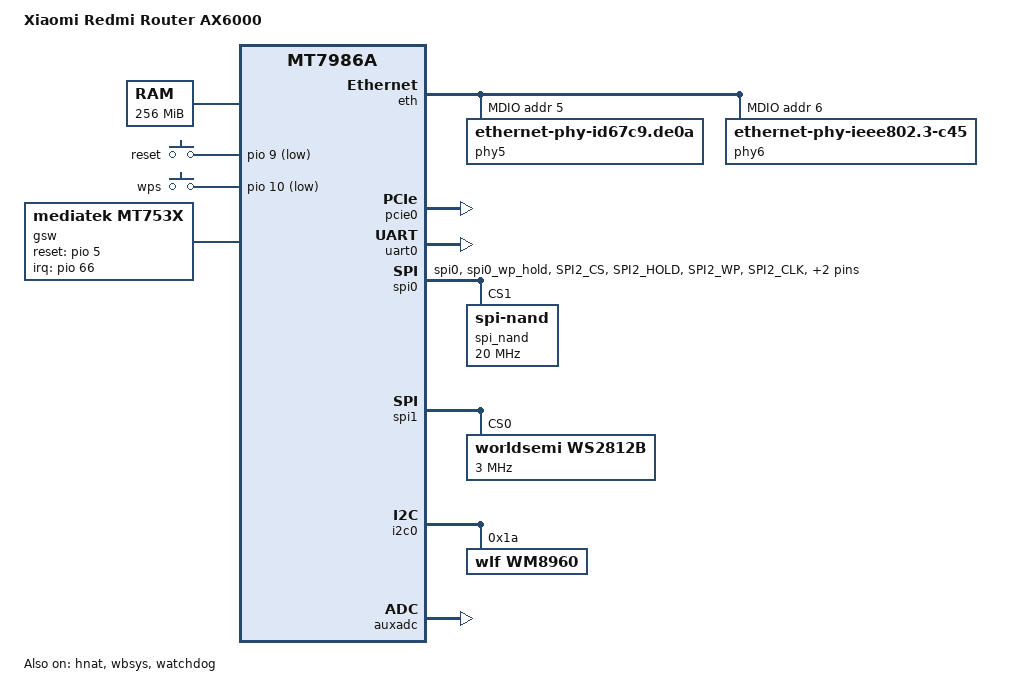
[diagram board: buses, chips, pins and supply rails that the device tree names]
// SPDX-License-Identifier: (GPL-2.0-only OR MIT)
/dts-v1/;

#include <dt-bindings/input/input.h>
#include <dt-bindings/gpio/gpio.h>
#include <dt-bindings/leds/common.h>

#include "mt7986a.dtsi"
#include "mt7986a-pinctrl.dtsi"
/ {
	model = "Xiaomi Redmi Router AX6000";
	compatible = "xiaomi,redmi-router-ax6000", "mediatek,mt7986a";

	
 	aliases {
 		serial0 = &uart0;
 		led-boot = &led_status_rgb;
 		led-failsafe = &led_status_rgb;
 		led-running = &led_status_rgb;
 		led-upgrade = &led_status_rgb;
 	};

	chosen {
		bootargs = "console=ttyS0,115200n1 loglevel=8 
		earlycon=uart8250,mmio32,0x11002000";
	};
	memory {
		reg = <0 0x40000000 0 0x10000000>;
	};

  
       gpio-keys {
		compatible = "gpio-keys";

		reset {
			label = "reset";
			gpios = <&pio 9 GPIO_ACTIVE_LOW>;
			linux,code = <KEY_RESTART>;
		};

		wps {
			label = "wps";
			gpios = <&pio 10 GPIO_ACTIVE_LOW>;
			linux,code = <KEY_WPS_BUTTON>;
			linux,input-type = <EV_SW>;
		};
	};

    nmbm_spim_nand {
		compatible = "generic,nmbm";

		#address-cells = <1>;
		#size-cells = <1>;

		lower-mtd-device = <&spi_nand>;
		forced-create;

	           partitions {
			compatible = "fixed-partitions";
			#address-cells = <1>;
			#size-cells = <1>;

			partition@0 {
				label = "BL2";
				reg = <0x0 0x100000>;
				read-only;
			};

			partition@100000 {
				label = "Nvram";
				reg = <0x100000 0x40000>;
			};

			partition@140000 {
				label = "Bdata";
				reg = <0x140000 0x40000>;
			};

			Factory:partition@180000 {
				label = "Factory";
				reg = <0x180000 0x200000>;
				read-only;
			};

			partition@380000 {
				label = "FIP";
				reg = <0x380000 0x200000>;
			};

			partition@580000 {
				label = "crash";
				reg = <0x580000 0x40000>;
				read-only;
			};

			partition@5c0000 {
				label = "crash_log";
				reg = <0x5c0000 0x40000>;
				read-only;
			};

			partition@600000 {
				label = "ubi_kernel";
				reg = <0x600000 0x1e00000>;
			};

			/* ubi partition is the result of squashing
			 * consecutive stock partitions:
			 * - ubi
			 * - ubi1
			 * - overlay
			 */
			partition@2400000 {
				label = "ubi";
				reg = <0x2400000 0x5000000>;
			};

			/* last 12 MiB is reserved for NMBM bad block table */
		};
	};
	
	gsw: gsw@0 {
		compatible = "mediatek,mt753x";
		mediatek,ethsys = <&ethsys>;
		#address-cells = <1>;
		#size-cells = <0>;
	};
};

&eth {
	status = "okay";

	gmac0: mac@0 {
		compatible = "mediatek,eth-mac";
		reg = <0>;
		phy-mode = "2500base-x";

		fixed-link {
			speed = <2500>;
			full-duplex;
			pause;
		};
	};

	gmac1: mac@1 {
		compatible = "mediatek,eth-mac";
		reg = <1>;
		phy-mode = "2500base-x";

		fixed-link {
			speed = <2500>;
			full-duplex;
			pause;
		};
	};

	mdio: mdio-bus {
		#address-cells = <1>;
		#size-cells = <0>;
		reset-gpios = <&pio 6 1>;
		reset-delay-us = <600>;

		phy5: phy@5 {
			compatible = "ethernet-phy-id67c9.de0a";
			reg = <5>;
		};

		phy6: phy@6 {
			compatible = "ethernet-phy-ieee802.3-c45";
			reg = <6>;
		};
	};
};

&gsw {
	mediatek,mdio = <&mdio>;
	mediatek,portmap = "llllw";
	mediatek,mdio_master_pinmux = <0>;
	reset-gpios = <&pio 5 0>;
	interrupt-parent = <&pio>;
	interrupts = <66 IRQ_TYPE_LEVEL_HIGH>;
	status = "okay";

	port5: port@5 {
		compatible = "mediatek,mt753x-port";
		reg = <5>;
		phy-mode = "sgmii";

		fixed-link {
			speed = <2500>;
			full-duplex;
		};
	};

	port6: port@6 {
		compatible = "mediatek,mt753x-port";
		mediatek,ssc-on;
		reg = <6>;
		phy-mode = "sgmii";
		fixed-link {
			speed = <2500>;
			full-duplex;
		};
	};
};


&hnat {
	mtketh-wan = "eth1";
	mtketh-lan = "eth0";
	mtketh-max-gmac = <2>;
	mtketh-ppe-num = <2>;
	status = "okay";
};

&pio {
	spi_flash_pins: spi-flash-pins-33-to-38 {
		mux {
			function = "flash";
			groups = "spi0", "spi0_wp_hold";
		};
		conf-pu {
			pins = "SPI2_CS", "SPI2_HOLD", "SPI2_WP";
			drive-strength = <8>;
			mediatek,pull-up-adv = <0>;
		};
		conf-pd {
			pins = "SPI2_CLK", "SPI2_MOSI", "SPI2_MISO";
			drive-strength = <8>;
			mediatek,pull-down-adv = <0>;
		};
	};

	wf_2g_5g_pins: wf_2g_5g-pins {
		mux {
			function = "wifi";
			groups = "wf_2g", "wf_5g";
		};
		conf {
			pins = "WF0_HB1", "WF0_HB2", "WF0_HB3", "WF0_HB4",
			       "WF0_HB0", "WF0_HB0_B", "WF0_HB5", "WF0_HB6",
			       "WF0_HB7", "WF0_HB8", "WF0_HB9", "WF0_HB10",
			       "WF0_TOP_CLK", "WF0_TOP_DATA", "WF1_HB1",
			       "WF1_HB2", "WF1_HB3", "WF1_HB4", "WF1_HB0",
			       "WF1_HB5", "WF1_HB6", "WF1_HB7", "WF1_HB8",
			       "WF1_TOP_CLK", "WF1_TOP_DATA";
			drive-strength = <MTK_DRIVE_4mA>;
		};
	};

	wf_dbdc_pins: wf_dbdc-pins {
		mux {
			function = "wifi";
			groups = "wf_dbdc";
		};
		conf {
			pins = "WF0_HB1", "WF0_HB2", "WF0_HB3", "WF0_HB4",
			       "WF0_HB0", "WF0_HB0_B", "WF0_HB5", "WF0_HB6",
			       "WF0_HB7", "WF0_HB8", "WF0_HB9", "WF0_HB10",
			       "WF0_TOP_CLK", "WF0_TOP_DATA", "WF1_HB1",
			       "WF1_HB2", "WF1_HB3", "WF1_HB4", "WF1_HB0",
			       "WF1_HB5", "WF1_HB6", "WF1_HB7", "WF1_HB8",
			       "WF1_TOP_CLK", "WF1_TOP_DATA";
			drive-strength = <MTK_DRIVE_4mA>;
		};
	};
};

&pcie0 {
    pinctrl-names = "default";
    pinctrl-0 = <&pcie0_pins>;
    status = "okay";
};

&uart0 {
    status = "okay";
};

&spi0 {
	pinctrl-names = "default";
	pinctrl-0 = <&spi_flash_pins>;
	status = "okay";
	cs-gpios = <0>, <0>;
	spi_nand: spi_nand@0 {
		#address-cells = <1>;
		#size-cells = <1>;
		compatible = "spi-nand";
		reg = <1>;
		spi-max-frequency = <20000000>;
		spi-tx-buswidth = <4>;
		spi-rx-buswidth = <4>;
	};
};

&wbsys {
	status = "okay";
	mediatek,mtd-eeprom = <&Factory 0x0000>;
/*
	pinctrl-names = "default", "dbdc";
	pinctrl-0 = <&wf_2g_5g_pins>;
	pinctrl-1 = <&wf_dbdc_pins>;
*/
};

&spi1 {
 	pinctrl-names = "default";
 	pinctrl-0 = <&spic_pins_g2>;
 	status = "okay";

 	ws2812b@0 {
 		#address-cells = <1>;
 		#size-cells = <0>;
 		compatible = "worldsemi,ws2812b";
 		reg = <0>;
 		spi-max-frequency = <3000000>;

 		led_status_rgb: led@0 {
 			reg = <0>;
 			label = "rgb:status";
 			color-index = <LED_COLOR_ID_RED LED_COLOR_ID_GREEN LED_COLOR_ID_BLUE>;
 			color-intensity = <0 255 0>; /* GREEN */
 		};

 		led_network_rgb: led@1 {
 			reg = <1>;
 			label = "rgb:network";
 			color-index = <LED_COLOR_ID_RED LED_COLOR_ID_GREEN LED_COLOR_ID_BLUE>;
 			color-intensity = <0 0 255>; /* BLUE */
 		};
 	};
 };


&watchdog {
	status = "okay";
};

&i2c0 {
	pinctrl-names = "default";
	pinctrl-0 = <&i2c_pins>;
	status = "okay";

	wm8960: wm8960@1a {
		compatible = "wlf,wm8960";
		reg = <0x1a>;
	};
};

&auxadc {
	status = "okay";
};
